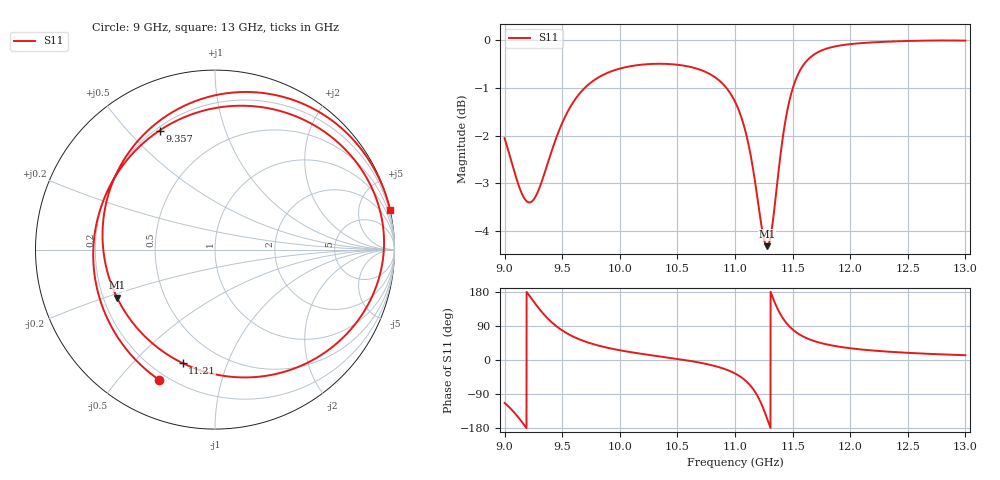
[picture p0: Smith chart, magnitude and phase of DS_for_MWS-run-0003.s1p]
! TOUCHSTONE file generated by CST DESIGN STUDIO
! Date and time: Tue Jan 28 13:35:05 2025
! Project name: C:\Work\MatlabApps\UnitCellOptimizationMatlabNew\CST\unitcell.cst
! Tree item: Tasks\Sweep1\SPara1\S-Parameters
! Header version: 2024
! Port assignment regex: !\s*Touchstone port\s*([0-9]+)\s*=\s*(CST MWS port|CST DES external port|CST DES block port)\s*(.+)\s* \(\"(.*)\"\)(\s*mode\s*([0-9]+))?.*
! Touchstone port assignment:
! Touchstone port 1 = CST DES external port 1 ("")
# GHz S MA R 50
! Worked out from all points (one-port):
!   4001 points, 9 GHz to 13 GHz, reference 50 ohm
!   lowest |S11| = -4.3 dB at 11.28 GHz (marker M1), VSWR 4.10, Z = 12.8 - j10.9 ohm
!   |S11| at or under -10 dB: nowhere
!   S11 on the Smith chart (normalised r, x): 9 GHz: 0.17, -0.65; 9.357 GHz: 0.22, +0.62; 11.21 GHz: 0.32, -0.71; 13 GHz: 0.01, +9.06
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9  0.7896 -113.2
9.083  0.729 -138.3
9.186  0.6788 -178.1
9.262  0.6833 150.1
9.357  0.7319 115.0
9.424  0.7751 95.4
9.5  0.8191 78.0
9.601  0.8633 60.9
9.712  0.8954 47.4
10  0.9342 25.7
10.5  0.943 2.8
10.813  0.9172 -14.9
11  0.8625 -35.5
11.111  0.7839 -60.1
11.169  0.7172 -81.8
11.214  0.6577 -105.9
11.245  0.6235 -127.3
11.278  0.608 -153.9
11.331  0.6492 162.2
11.393  0.7549 121.4
11.442  0.8293 99.1
11.5  0.8898 80.6
11.585  0.939 63.1
11.688  0.967 50.0
11.82  0.9826 39.6
12  0.9912 31.0
12.5  0.9988 18.9
13  0.9996 12.6
